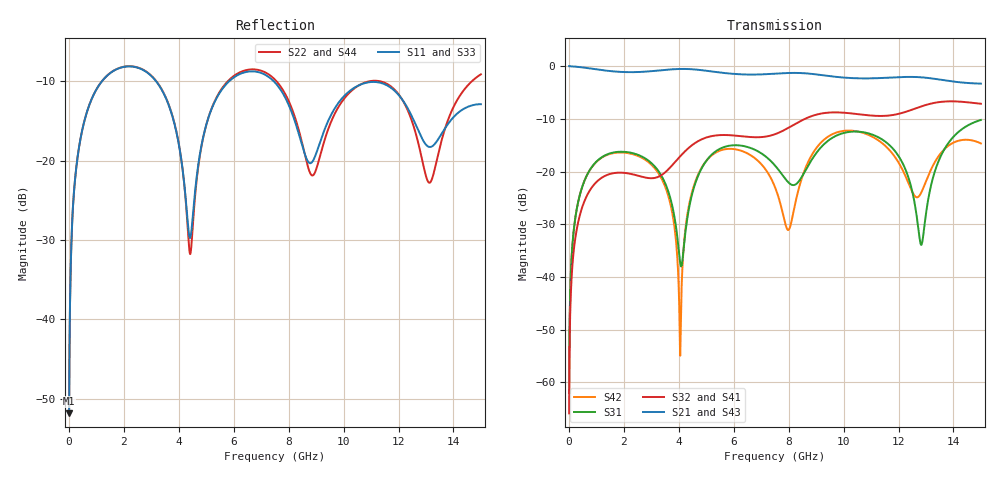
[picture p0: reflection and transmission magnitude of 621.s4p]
! Created with skrf 1.8.0 (http://scikit-rf.org).
# GHz S RI R 50.0
!freq ReS11 ImS11 ReS12 ImS12 ReS13 ImS13
! ReS14 ImS14
! ReS21 ImS21 ReS22 ImS22 ReS23 ImS23
! ReS24 ImS24
! ReS31 ImS31 ReS32 ImS32 ReS33 ImS33
! ReS34 ImS34
! ReS41 ImS41 ReS42 ImS42 ReS43 ImS43
! ReS44 ImS44
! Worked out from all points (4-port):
!   2499 points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, 5 MHz to 15 GHz, reference 50 ohm
!   strongest paths, dB at 5 MHz, 3.476 GHz, 7.19 GHz, 11.1 GHz, 15 GHz:
!     S21: 0.0, -0.7, -1.5, -2.3, -3.3
!     S43: 0.0, -0.7, -1.5, -2.3, -3.3
!     S32: -65.9, -20.3, -13.4, -9.4, -7.1
!     S41: -65.9, -20.3, -13.4, -9.4, -7.1
!     S31: -62.0, -21.9, -17.3, -13.1, -10.2
!     S42: -61.9, -22.5, -19.8, -13.5, -14.7
!   lowest |S11| = -51.9 dB at 5 MHz (marker M1), VSWR 1.01, Z = 50.2 + j0.155 ohm
!   |S11| at or under -10 dB: start of sweep to 1.196 GHz; 3.177 GHz to 5.825 GHz (2.648 GHz wide, 58.8 % of centre); 7.463 GHz to end of sweep
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0.005  0.00203 0.00155  0.9979 -0.00395  0.000103 0.000792  -0.0001 -0.0005
       0.9979 -0.00395  0.00203 0.00155  -0.0001 -0.0005  0.000103 0.000792
       0.000103 0.000792  -0.0001 -0.0005  0.00203 0.00155  0.9979 -0.00395
       -0.0001 -0.0005  0.000103 0.000792  0.9979 -0.00395  0.00203 0.00155
1.269279  0.2755 0.1771  0.5383 -0.7349  0.1288 0.0557  -0.0896 -0.00462
          0.5383 -0.7349  0.2768 0.1762  -0.0896 -0.00464  0.125 0.0611
          0.1288 0.0557  -0.0896 -0.00464  0.2755 0.1771  0.5383 -0.735
          -0.0896 -0.00462  0.125 0.0611  0.5383 -0.735  0.2768 0.1762
4.045436  0.0577 -0.0985  -0.884 -0.316  -0.0123 -0.00656  -0.0423 0.1325
          -0.884 -0.316  0.0517 -0.1026  -0.0427 0.1323  -0.00164 -0.000803
          -0.0123 -0.00656  -0.0427 0.1323  0.0566 -0.0986  -0.8841 -0.3159
          -0.0423 0.1325  -0.00164 -0.000803  -0.8841 -0.3159  0.0526 -0.1021
5.002084  0.1051 0.1323  -0.8406 0.3301  0.0876 0.0912  0.1008 0.1843
          -0.8406 0.3301  0.1007 0.1356  0.1003 0.1847  0.0819 0.0962
          0.0876 0.0912  0.1003 0.1847  0.1038 0.1336  -0.8404 0.3304
          0.1008 0.1843  0.0819 0.0962  -0.8404 0.3304  0.1026 0.1354
8.828679  0.0971 9.75e-05  0.8342 0.1277  -0.0295 0.1245  0.0435 -0.332
          0.8342 0.1277  0.0793 -0.0175  0.0449 -0.3318  0.00635 0.1413
          -0.0295 0.1245  0.0449 -0.3318  0.0972 0.000835  0.8342 0.1273
          0.0435 -0.332  0.00635 0.1413  0.8342 0.1273  0.0794 -0.0176
11.67987  0.279 -0.0861  -0.1287 -0.7664  0.1112 -0.1378  -0.3207 0.1131
          -0.1287 -0.7664  0.28 -0.1018  -0.3215 0.1114  0.1049 -0.1192
          0.1112 -0.1378  -0.3215 0.1114  0.2853 -0.0851  -0.128 -0.7646
          -0.3207 0.1131  0.1049 -0.1192  -0.128 -0.7646  0.2851 -0.1052
15  0.227 0.0102  -0.4193 0.5373  0.279 -0.131  0.3938 0.1957
    -0.4193 0.5373  0.3389 0.0901  0.3915 0.199  0.171 0.0698
    0.279 -0.131  0.3915 0.199  0.2242 0.00924  -0.4197 0.5385
    0.3938 0.1957  0.171 0.0698  -0.4197 0.5385  0.3365 0.0844
